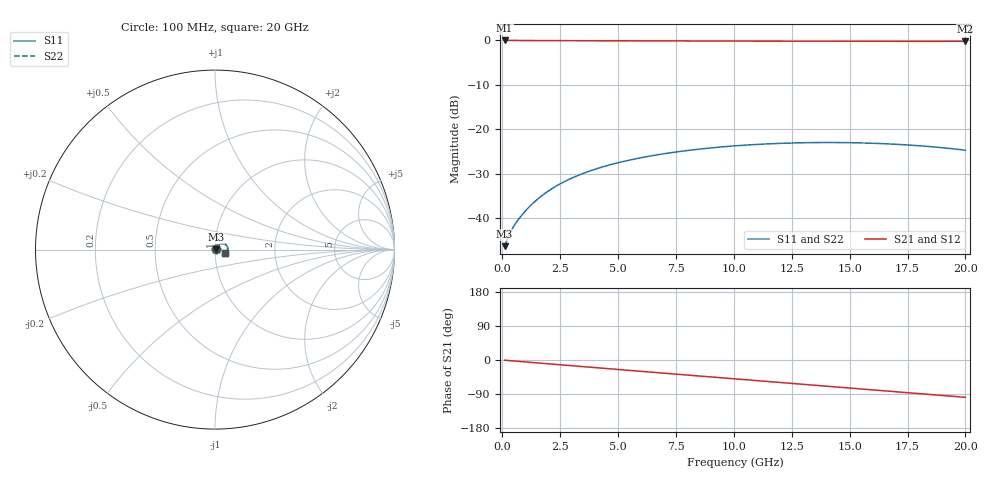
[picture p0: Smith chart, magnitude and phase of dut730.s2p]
! Touchstone file exported from HFSS 2026.1.0
!  File:  C:/ffzhzh/LocalFiles/Ansys_Project_Files/temp_train_TSV_RDL_730_1783202788_18472.aedt
!  Generated:  06:17:10 AM Jul  5, 2026
!  Design:  TSV_RDL
!  Project:  temp_train_TSV_RDL_730_1783202788_18472
! Variables:
!  h_bsmrdl = 4.63um
!  h_ox = 20um
!  h_rdl = 5um
!  h_sub = 95.25um
!  h_tmrdl = 5.3um
!  h_tsv = 95.25um
!  h_via = 3um
!  l_bsmrdl = 100.75um
!  l_sub = 1310.22um
!  l_tmrdl = 124.13um
!  m_sub = 200um
!  pitch = 35.72um
!  r_tsv = 11.35um
!  s_tmrdl = 10um
!  w_bsmrdl = 13.29um
!  w_sub = 500um
!  w_tmrdl = 23.86um
!  x_tsv_center1 = 136.06um
!  x_tsv_center2 = 250.1um
!  x_tsv_center3 = 398.09um
!  x_tsv_center4 = 512.13um
!  x_tsv_center5 = 660.12um
!  x_tsv_center6 = 774.16um
# GHz S MA R 50.000000
! Terminal data exported
! Port[1] = TM_RDL1_1_T1
! Port[2] = TM_RDL5_1_T1
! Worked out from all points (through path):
!   200 points, 100 MHz to 20 GHz, reference 50 ohm
!   highest |S21| = -0.04 dB at 100 MHz (marker M1); lowest = -0.2 dB at 20 GHz (marker M2)
!   group delay of S21, straight-line fit = 13.6 ps
!   lowest |S11| = -46.2 dB at 100 MHz (marker M3), VSWR 1.01, Z = 50.5 + j0.141 ohm
!   |S11| at or under -10 dB: start of sweep to end of sweep
!   |S22| runs from -46.2 to -22.9 dB; largest |S21 - S12| = 1.3e-14
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0.1  0.00489 16.6  0.9953 -0.5  0.9953 -0.5  0.00489 16.6
! Gamma 0 0 0 0
! Port Impedance 50 0 50 0
0.3  0.006564 34.1  0.9947 -1.6  0.9947 -1.6  0.006564 34.1
0.5  0.008221 41.6  0.994 -2.6  0.994 -2.6  0.008221 41.6
0.7  0.009784 46.5  0.9934 -3.6  0.9934 -3.6  0.009784 46.5
0.9  0.01136 50.1  0.993 -4.6  0.993 -4.6  0.01136 50.1
1.3  0.01461 54.4  0.9924 -6.6  0.9924 -6.6  0.01461 54.4
1.8  0.01877 56.4  0.9917 -9.1  0.9917 -9.1  0.01877 56.4
2.3  0.02288 56.5  0.9909 -11.6  0.9909 -11.6  0.02288 56.5
2.9  0.02763 55.4  0.99 -14.6  0.99 -14.6  0.02763 55.4
3.5  0.03212 53.6  0.9889 -17.6  0.9889 -17.6  0.03212 53.6
4.2  0.03704 51.0  0.9877 -21.1  0.9877 -21.1  0.03703 51.0
5  0.04223 47.8  0.9864 -25.0  0.9864 -25.0  0.04223 47.8
5.9  0.04756 44.1  0.9849 -29.5  0.9849 -29.5  0.04756 44.1
6.8  0.05237 40.2  0.9835 -33.9  0.9835 -33.9  0.05237 40.2
8.4  0.05964 33.2  0.9814 -41.7  0.9814 -41.7  0.05963 33.2
10.1  0.0655 25.6  0.9794 -50.0  0.9794 -50.0  0.0655 25.6
11.8  0.06936 17.8  0.9777 -58.3  0.9777 -58.3  0.06935 17.8
13.4  0.07108 10.4  0.9764 -66.2  0.9764 -66.2  0.07107 10.4
15.1  0.07084 2.3  0.9752 -74.5  0.9752 -74.5  0.07083 2.4
16.7  0.06866 -5.3  0.9742 -82.3  0.9742 -82.3  0.06865 -5.3
18.4  0.06431 -13.6  0.9734 -90.6  0.9734 -90.6  0.06429 -13.6
20  0.05836 -21.7  0.9727 -98.5  0.9727 -98.5  0.05834 -21.6
